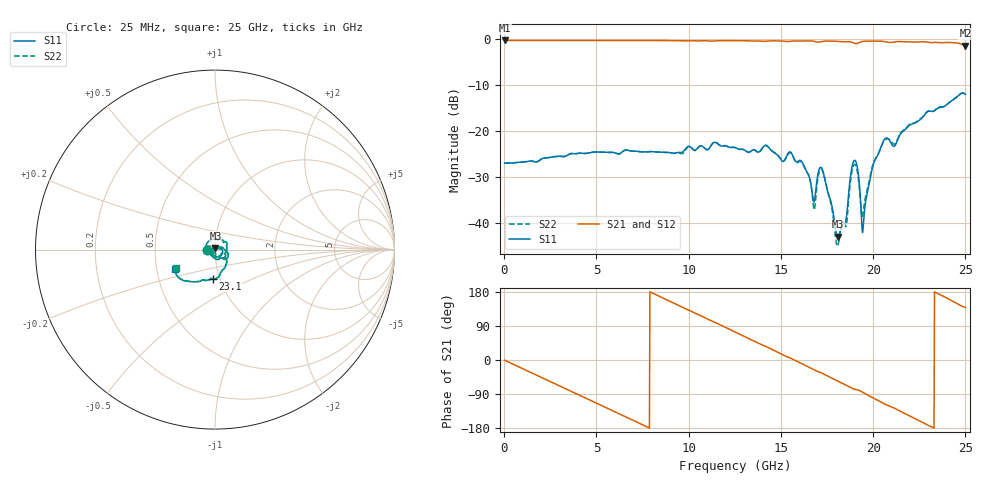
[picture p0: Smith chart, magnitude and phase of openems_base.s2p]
! R_s4_rect_n4: Finite board 24 × 16 mm, via L1 → L4 through the L2/L3 cavity, four GND vias at 1 mm
! stackup: 4-layer 1.6 mm FR-4
! ports: 1 L1, 2 L4
! openEMS 0.37.0, staircase, base mesh (dfine 0.07 mm), 682640 cells
# Hz S RI R 50
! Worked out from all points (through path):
!   1000 points, 25 MHz to 25 GHz, reference 50 ohm
!   highest |S21| = -0.39 dB at 25 MHz (marker M1); lowest = -1.5 dB at 25 GHz (marker M2)
!   group delay of S21, straight-line fit = 64.4 ps
!   lowest |S11| = -43.1 dB at 18.1 GHz (marker M3), VSWR 1.01, Z = 50.3 + j0.652 ohm
!   |S11| at or under -10 dB: start of sweep to end of sweep
!   |S22| runs from -45.1 to -11.9 dB; largest |S21 - S12| = 0.00083
!   S11 on the Smith chart (normalised r, x): 25 MHz: 0.92, +0.00; 23.1 GHz: 0.93, -0.31; 25 GHz: 0.62, -0.14
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2.5e7  -0.0443 0.000125  0.9557 -0.00954  0.9555 -0.00946  -0.044 2.7e-05
2.375e9  -0.0489 0.0136  0.5609 -0.7731  0.5607 -0.7732  -0.0486 0.0137
4.2e9  -0.0444 0.0351  -0.0939 -0.9505  -0.0938 -0.9507  -0.0446 0.0354
6.55e9  -0.0226 0.0569  -0.8164 -0.4891  -0.8164 -0.4891  -0.0227 0.0567
8.35e9  0.00722 0.058  -0.9377 0.1733  -0.9377 0.1733  0.00727 0.058
1.0775e10  0.0501 0.0443  -0.3881 0.8659  -0.3881 0.8659  0.0496 0.0453
1.2525e10  0.0652 0.00045  0.2659 0.9122  0.2659 0.9122  0.0654 0.000588
1.4775e10  0.0288 -0.0469  0.8794 0.3493  0.8795 0.3493  0.0289 -0.0476
1.6125e10  -0.0072 -0.0456  0.9303 -0.1548  0.9303 -0.1547  -0.00652 -0.0447
1.6675e10  -0.012 -0.0191  0.8671 -0.3722  0.8672 -0.3722  -0.0131 -0.0179
1.6825e10  -0.000319 -0.0175  0.8296 -0.4233  0.8295 -0.4234  -0.000442 -0.014
1.7075e10  -0.0056 -0.0376  0.7842 -0.4802  0.7843 -0.48  -0.000324 -0.0356
1.725e10  -0.024 -0.029  0.7647 -0.5378  0.7648 -0.5378  -0.0191 -0.0313
1.81e10  0.00272 0.00648  0.5146 -0.7782  0.5147 -0.7782  0.00242 0.00518
1.85e10  0.00963 0.00339  0.3831 -0.842  0.3831 -0.842  0.00901 -0.000352
1.895e10  0.0413 -0.0215  0.2051 -0.8713  0.205 -0.8712  0.0341 -0.0248
1.9125e10  0.0103 -0.0405  0.1759 -0.8697  0.1758 -0.8698  0.00194 -0.0373
1.9475e10  0.00098 0.00965  0.0579 -0.9352  0.0579 -0.935  0.00151 0.0135
2.0025e10  0.0431 0.00925  -0.1769 -0.9255  -0.1767 -0.9254  0.0438 0.00993
2.085e10  0.0586 -0.0546  -0.4705 -0.7808  -0.4705 -0.7806  0.0631 -0.0503
2.31e10  -0.0127 -0.1621  -0.9028 -0.0783  -0.9029 -0.0786  -0.0136 -0.162
2.5e10  -0.2221 -0.1077  -0.6346 0.5532  -0.6344 0.5524  -0.2195 -0.1019
